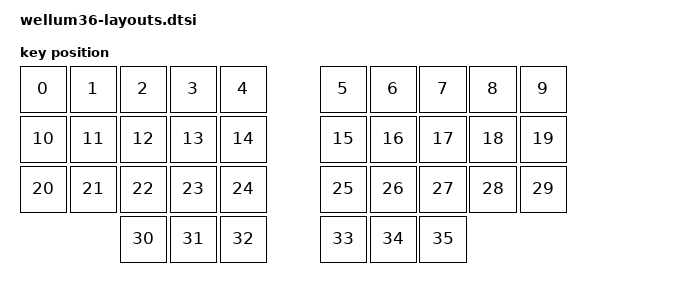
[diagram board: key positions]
#include <physical_layouts.dtsi>

/ {
  physical_layout0: physical_layout_0 {
    compatible = "zmk,physical-layout";
    display-name = "Lapka 36";
    transform = <&default_transform>;
    kscan = <&kscan0>;
    keys //                    w   h    x   y   r  rx  ry
      = <&key_physical_attrs 100 100    0   0   0   0   0> // Q
      , <&key_physical_attrs 100 100  100   0   0   0   0> // W
      , <&key_physical_attrs 100 100  200   0   0   0   0> // E
      , <&key_physical_attrs 100 100  300   0   0   0   0> // R
      , <&key_physical_attrs 100 100  400   0   0   0   0> // T

      , <&key_physical_attrs 100 100  600   0   0   0   0> // Y
      , <&key_physical_attrs 100 100  700   0   0   0   0> // U
      , <&key_physical_attrs 100 100  800   0   0   0   0> // I
      , <&key_physical_attrs 100 100  900   0   0   0   0> // O
      , <&key_physical_attrs 100 100 1000   0   0   0   0> // P

      , <&key_physical_attrs 100 100    0 100   0   0   0> // A
      , <&key_physical_attrs 100 100  100 100   0   0   0> // S
      , <&key_physical_attrs 100 100  200 100   0   0   0> // D
      , <&key_physical_attrs 100 100  300 100   0   0   0> // F
      , <&key_physical_attrs 100 100  400 100   0   0   0> // G

      , <&key_physical_attrs 100 100  600 100   0   0   0> // H
      , <&key_physical_attrs 100 100  700 100   0   0   0> // J
      , <&key_physical_attrs 100 100  800 100   0   0   0> // K
      , <&key_physical_attrs 100 100  900 100   0   0   0> // L
      , <&key_physical_attrs 100 100 1000 100   0   0   0> // ~

      , <&key_physical_attrs 100 100    0 200   0   0   0> // Z
      , <&key_physical_attrs 100 100  100 200   0   0   0> // X
      , <&key_physical_attrs 100 100  200 200   0   0   0> // C
      , <&key_physical_attrs 100 100  300 200   0   0   0> // V
      , <&key_physical_attrs 100 100  400 200   0   0   0> // B

      , <&key_physical_attrs 100 100  600 200   0   0   0> // Z
      , <&key_physical_attrs 100 100  700 200   0   0   0> // X
      , <&key_physical_attrs 100 100  800 200   0   0   0> // C
      , <&key_physical_attrs 100 100  900 200   0   0   0> // V
      , <&key_physical_attrs 100 100 1000 200   0   0   0> // B

      , <&key_physical_attrs 100 100  200 300   0   0   0> // CAPS
      , <&key_physical_attrs 100 100  300 300   0   0   0> // SPACE
      , <&key_physical_attrs 100 100  400 300   0   0   0> // NAV

      , <&key_physical_attrs 100 100  600 300   0   0   0> // SYM
      , <&key_physical_attrs 100 100  700 300   0   0   0> // SHIFT
      , <&key_physical_attrs 100 100  800 300   0   0   0> // ALT
      ;
  };
};
